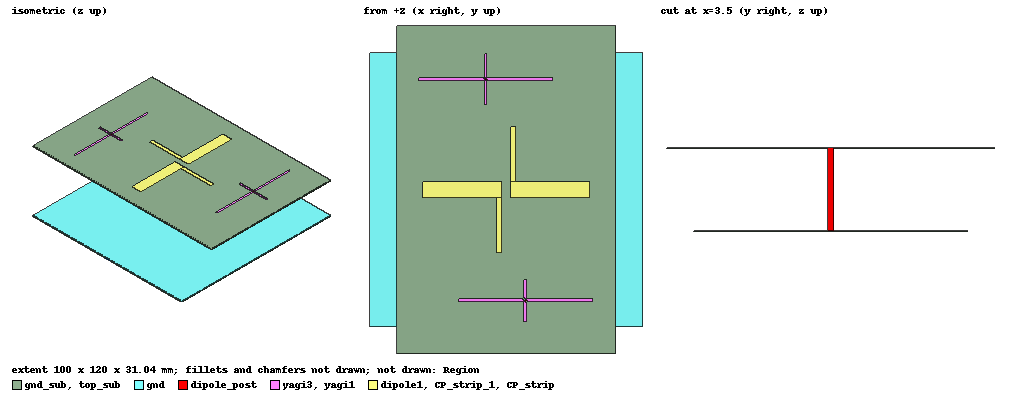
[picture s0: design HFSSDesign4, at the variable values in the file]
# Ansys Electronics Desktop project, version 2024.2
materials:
  Rogers RT/duroid 5880 (tm): permittivity=2.2 dielectric_loss_tangent=0.0009
  copper: permeability=0.999991 conductivity=58000000
  vacuum: permittivity=1

design HFSSDesign4 (HFSS, HFSS Modal Network, model units mm)
options: Allow_Material_Override
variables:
  gnd_subx = 100mm
  gnd_suby = 100mm
  gnd_subz = 0.5mm
  thickness_metal = 0.018mm
  slot_w = 2mm  # optimise 1mm..3mm
  slot_l = 37mm  # optimise 35mm..40mm
  feedline1_w = 3.58mm  # optimise 3mm..4mm
  feedline1_l = 30mm  # optimise 26mm..34mm
  feedline2_xposi = 6mm  # optimise 3mm..9mm
  feedline2_yposi = 9mm  # optimise 7mm..11mm
  feedline2_w = 1.49mm
  top_subx = 80mm
  top_suby = 120mm
  top_sub_zposi = 30mm  # optimise 28mm..32mm
  dipole_gap = 3mm  # optimise 2mm..4mm
  dipole_w = 6mm  # optimise 4mm..8mm
  dipole_l = 29mm  # 28; optimise 27mm..31mm
  dipole_post_xposi = 2mm  # optimise 2mm..3mm
  dipole_post_r = 1mm
  strip_w = 2mm  # optimise 1mm..4mm
  strip_l = 20mm  # 20; optimise 16mm..24mm
  yagi_w = 1mm  # optimise 0.5mm..1.5mm
  yagi_l1 = 49mm  # optimise 46mm..54mm
  yagi_l2 = 14.5mm  # 15; optimise 12mm..16mm
  yagi_yposi = 17.5mm  # optimise 15mm..19mm
  yagi_w2 = 1mm  # optimise 0.5mm..1.5mm
  yagi2_xposi = 0mm
  yagi2_rotate_deg = 45deg
  yagi_xmove = 7mm  # 6; optimise 5mm..9mm
  yagi2_xmove = 0mm
  yagi_cut_l = 2mm
  yagi_cut_w = 0.6mm
  rlc = 0.5mm
  para_w = 3mm
  para_dipole_gap = 1mm
  para_deg = 40deg
  para_roatate = 45deg
  pin_ind = 0.6nH
  pin_cap = 0.17pF
  pin_res = 8000ohm
  dc_pad = 2mm
  dc_line_w = 0.2mm
  yagi2_w = 1mm
  yagi2_l1 = 49mm
  yagi2_yposi = 17.5mm
  yagi3_l1 = 49mm
  yagi3_xmove = 7.5mm
  yagi3_yposi = 17.5mm
  yagi3_w2 = 1mm
  yagi3_w = 1mm
  yagi3_l2 = 17.5mm
  pinstate = 1
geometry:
  gnd_sub [Rogers RT/duroid 5880 (tm)] = box(corner=(-gnd_subx/2, -gnd_suby/2, 0mm), size=(gnd_subx, gnd_suby, -gnd_subz))
  gnd [copper] = box(corner=(-gnd_subx/2, -gnd_suby/2, 0mm), size=(gnd_subx, gnd_suby, thickness_metal))
  slot = box(corner=(-slot_w/2, -slot_l/2, 0mm), size=(slot_w, slot_l, thickness_metal))
  gnd.subtract(slot)
  feedline1 [copper] = polyline((gnd_subx/2, 0mm, -gnd_subz) (gnd_subx/2-feedline1_l, 0mm, -gnd_subz), section line width=feedline1_w)
  feedline2 = polyline(z=-gnd_subz, xy: (-feedline2_xposi, -slot_l/2+feedline2_yposi) (gnd_subx/2-feedline1_l, -slot_l/2+feedline2_yposi) (gnd_subx/2-feedline1_l, slot_l/2-feedline2_yposi) (-feedline2_xposi, slot_l/2-feedline2_yposi), section line width=feedline2_w)
  feedline2.chamfer(Vertices=feedline1.vertex(at (20.745, -10.245, -0.5), at (20.745, 10.245, -0.5)) LeftDistance=1.49mm RightDistance=1.49mm ChamferType=Symmetric)
  feedline1.thicken(0.018mm)
  feedline2.thicken(-0.018mm)
  port = rectangle(corner=(gnd_subx/2, -feedline1_w/2, 0mm), y_size=feedline1_w, z_size=-gnd_subz)
  Region [vacuum] = region(absolute_offset=40mm on all sides)
  top_sub [Rogers RT/duroid 5880 (tm)] = box(corner=(-top_subx/2, -top_suby/2, top_sub_zposi), size=(top_subx, top_suby, gnd_subz))
  dipole1 [copper] = box(corner=(dipole_gap/2, -dipole_w/2, top_sub_zposi+gnd_subz), size=(dipole_l, dipole_w, thickness_metal))
  dipole2 = dipole1.duplicate_mirror(point=(0mm, 0mm, 0mm), normal=(-1mm, 0mm, 0mm))
  dipole1.unite(dipole2)
  dipole_post [copper] = cylinder(axis=Z, base_centre=(dipole_gap/2+dipole_post_xposi, 0mm, 0mm), radius=dipole_post_r, height=top_sub_zposi+gnd_subz)
  dipole_post_1 [copper] = dipole_post.duplicate_mirror(point=(0mm, 0mm, 0mm), normal=(-1mm, 0mm, 0mm))
  CP_strip [copper] = box(corner=(dipole_gap/2, dipole_w/2, top_sub_zposi+gnd_subz), size=(strip_w, strip_l, thickness_metal))
  CP_strip_1 [copper] = CP_strip.duplicate_around_axis(axis=Z, angle=180deg, total=2)
  yagi1 [copper] = polyline((-yagi_l1/2, -dipole_w/2-strip_l-yagi_yposi, top_sub_zposi+gnd_subz) (yagi_l1/2, -dipole_w/2-strip_l-yagi_yposi, top_sub_zposi+gnd_subz), section line width=yagi_w)
  yagi2 = polyline((yagi2_xposi +yagi_xmove+yagi2_xmove, -dipole_w/2-strip_l-yagi_yposi -yagi_w/2-yagi_l2/2, top_sub_zposi+gnd_subz) (yagi2_xposi+yagi_xmove+yagi2_xmove, -dipole_w/2-strip_l-yagi_yposi +yagi_w/2+yagi_l2/2, top_sub_zposi+gnd_subz), section line width=yagi_w2)
  [yagi1, yagi2].thicken(-0.018mm)
  coordinate_system RelativeCS1 = origin=(yagi_xmove, -dipole_w/2-strip_l-yagi_yposi, top_sub_zposi+gnd_subz) x=(1mm, 0mm, 0mm) y=(0mm, 1mm, 0mm)
  yagi1.move(yagi_xmove, 0mm, 0mm)
  yagi_cut = polyline((yagi2_xposi +yagi_xmove+yagi2_xmove-yagi_cut_l, -dipole_w/2-strip_l-yagi_yposi, top_sub_zposi+gnd_subz) (yagi2_xposi +yagi_xmove+yagi2_xmove+yagi_cut_l, -dipole_w/2-strip_l-yagi_yposi, top_sub_zposi+gnd_subz), section line width=yagi_cut_w)
  yagi_cut.rotate(axis=Z, angle=-45deg) in RelativeCS1
  yagi_cut.thicken(-0.018mm)
  yagi_cut_1 = yagi_cut.copy()
  yagi1.subtract(yagi_cut_1)
  yagi2.subtract(yagi_cut)
  yagi1.unite(yagi2)
  sw1_1 = rectangle(corner=(yagi2_xposi +yagi_xmove+yagi2_xmove-rlc, -dipole_w/2-strip_l-yagi_yposi -rlc/2, top_sub_zposi+gnd_subz), x_size=rlc, y_size=rlc)
  sw1_2 = rectangle(corner=(yagi2_xposi +yagi_xmove+yagi2_xmove, -dipole_w/2-strip_l-yagi_yposi -rlc/2, top_sub_zposi+gnd_subz), x_size=rlc, y_size=rlc)
  coordinate_system RelativeCS2 = origin=(-yagi3_xmove, -(-dipole_w/2-strip_l-yagi_yposi), top_sub_zposi+gnd_subz) x=(1mm, 0mm, 0mm) y=(0mm, 1mm, 0mm)
  yagi3 [copper] = polyline((-yagi3_l1/2-yagi3_xmove, dipole_w/2+strip_l+yagi3_yposi, top_sub_zposi+gnd_subz) (yagi3_l1/2-yagi3_xmove, dipole_w/2+strip_l+yagi3_yposi, top_sub_zposi+gnd_subz), section line width=yagi3_w)
  yagi4 = polyline((-yagi3_xmove, -(-dipole_w/2-strip_l-yagi3_yposi -yagi3_w/2-yagi3_l2/2 ), top_sub_zposi+gnd_subz) (-yagi3_xmove, -(-dipole_w/2-strip_l-yagi3_yposi +yagi3_w/2+yagi3_l2/2 ), top_sub_zposi+gnd_subz), section line width=yagi3_w2)
  yagi3_cut = polyline((-yagi3_xmove-yagi_cut_l, -(-dipole_w/2-strip_l-yagi3_yposi), top_sub_zposi+gnd_subz) (-yagi3_xmove+yagi_cut_l, -(-dipole_w/2-strip_l-yagi3_yposi), top_sub_zposi+gnd_subz), section line width=rlc)
  yagi3_cut.rotate(axis=Z, angle=-45deg) in RelativeCS2
  yagi3.unite(yagi4)
  yagi3.subtract(yagi3_cut)
  yagi3.thicken(-0.018mm)
  [sw1_1, sw1_2].rotate(axis=Z, angle=45deg) in RelativeCS1
  sw2_1 = rectangle(corner=(-yagi3_xmove-rlc, -(-dipole_w/2-strip_l-yagi3_yposi)-rlc/2, top_sub_zposi+gnd_subz), x_size=rlc, y_size=rlc)
  sw2_2 = rectangle(corner=(-yagi3_xmove, -(-dipole_w/2-strip_l-yagi3_yposi)-rlc/2, top_sub_zposi+gnd_subz), x_size=rlc, y_size=rlc)
  [sw2_1, sw2_2].rotate(axis=Z, angle=45deg) in RelativeCS2
  feedline1.unite(feedline2)
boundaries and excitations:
  Rad1: Radiation Objects=Region
  sw1_1: Lumped RLC Objects=sw1_1 CurrentLine{(7, -40.5, 30.5) -> (6.6464466, -40.853553, 30.5)} RLC_Type=Serial Inductance=pin_ind
  sw1_2: Lumped RLC Objects=sw1_2 CurrentLine{(7.3535534, -40.146447, 30.5) -> (7, -40.5, 30.5)} RLC_Type=Serial Resistance=2.1ohm
  sw2_1: Lumped RLC Objects=sw2_1 CurrentLine{(-7.5, 40.5, 30.5) -> (-7.8535534, 40.146447, 30.5)} RLC_Type=Parallel Inductance=pin_ind
  sw2_2: Lumped RLC Objects=sw2_2 CurrentLine{(-7.1464466, 40.853553, 30.5) -> (-7.5, 40.5, 30.5)} RLC_Type=Parallel Resistance=8000ohm Capacitance=0.17pF
  1: Lumped Port Objects=port LumpedPortType=Modal Modes{Mode1{IntLine{(50, 0, -0.5) -> (50, 0, 0)} CharImp=Zpi RenormImp=50ohm}} Impedance=50ohm
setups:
  Setup1: HfssDriven Frequency=2.44GHz MaxDeltaS=0.02 MaximumPasses=10 MinimumPasses=1 MinimumConvergedPasses=1 PercentRefinement=30 BasisOrder=1 PortAccuracy=2 DrivenSolverType="Direct Solver"
    sweep Sweep: 2.4GHz to 2.48GHz step 0.02GHz; Type=Discrete SaveFields
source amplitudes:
  1:1: 1W 0deg
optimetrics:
  OptimizationSetup1: Optimization Optimizer="DX SCREENING" AnalysisStopOptions{StopForNumIteration MaxNumIteration=100 MinNumIteration=10} CostFuncNormType=L2 Acceptable_Cost=0 Noise=0.0001 UpdateDesignWhenDone
    goal dB(S(1,1)) == 0 weight 1 on Setup1 : Sweep at Freq 2GHz to 3GHz
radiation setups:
  Infinite Sphere1: Infinite Sphere Theta=-180deg..180deg step 5deg Phi=-180deg..180deg step 5deg
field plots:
  Mag_E1: E Field over top_sub.face(+z) on Setup1 : LastAdaptive at Freq=2.44GHz Phase=0deg
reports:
  S Parameter Plot 1: dB(S(1,1)) vs Freq on Setup1 : Sweep; markers MX1 at x=2.4e+09, MX2 at x=2.48e+09
  Realized Gain Plot 1: dB(RealizedGainTotal) vs Phi, Theta on Setup1 : LastAdaptive, Infinite Sphere1 [Freq=2.44GHz]
  Realized Gain Plot 2: dB(RealizedGainPhi), dB(RealizedGainTheta) vs Theta on Setup1 : LastAdaptive, Infinite Sphere1 [Phi=90deg Freq=2.44GHz]
  Axial Ratio Plot 1: dB(AxialRatioValue) vs Freq on Setup1 : Sweep, Infinite Sphere1 [Phi=0deg Theta=0deg yagi3_xmove=all]; markers MX1 at x=2.48e+09
  Realized Gain Plot 3: dB(RealizedGainLHCP), dB(RealizedGainRHCP) vs Theta on Setup1 : LastAdaptive, Infinite Sphere1 [Phi=0deg Freq=2.44GHz]
  Realized Gain Plot 4: dB(RealizedGainLHCP) vs Theta on Setup1 : LastAdaptive, Infinite Sphere1 [Phi=90deg Freq=2.44GHz yagi3_xmove=6.5mm]; dB(RealizedGainRHCP) vs Theta on Setup1 : LastAdaptive, Infinite Sphere1 [Phi=90deg Freq=2.44GHz]
  Realized Gain Plot 2_1: dB(RealizedGainPhi) vs Phi on Setup1 : LastAdaptive, Infinite Sphere1 [Theta=66deg Freq=2.44GHz]; dB(RealizedGainTheta) vs Phi on Setup1 : LastAdaptive, Infinite Sphere1 [Theta=90deg Freq=2.44GHz]
  Axial Ratio Plot 2_1: dB(AxialRatioValue) vs Theta on Setup1 : LastAdaptive, Infinite Sphere1 [Phi=90deg Freq=2.44GHz]
  Directivity Plot 1: dB(DirLHCP), dB(DirRHCP) vs Theta on Setup1 : LastAdaptive, Infinite Sphere1 [Phi=90deg Freq=2.44GHz]; markers m1 at 0deg, m2 at 30deg
